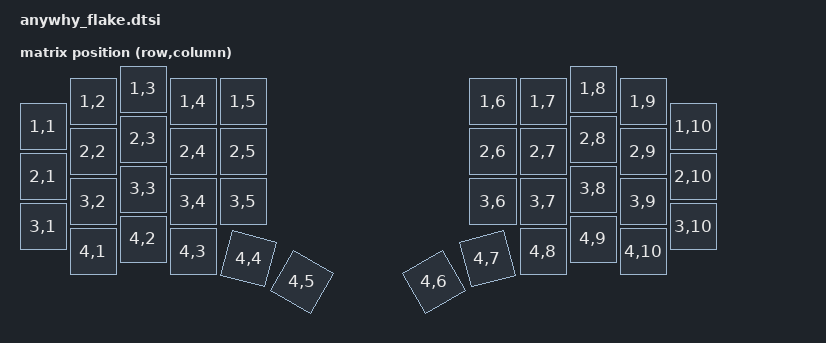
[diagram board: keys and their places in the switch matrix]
#include <dt-bindings/zmk/matrix_transform.h>
#include <physical_layouts.dtsi>

/ {
    kscan0: kscan0 {
        compatible = "zmk,kscan-gpio-matrix";
        diode-direction = "col2row";
        wakeup-source;
    };

    chosen {
        zmk,kscan = &kscan0;
        zmk,physical-layout = &small_layout;
    };

    small_layout: small_layout {
        compatible = "zmk,physical-layout";
        display-name = "Flake S Layout";
        transform = <&small_transform>;

        keys  //                     w   h    x    y     rot    rx    ry
            = <&key_physical_attrs 100 100    0   75       0     0     0>
            , <&key_physical_attrs 100 100  100   25       0     0     0>
            , <&key_physical_attrs 100 100  200    0       0     0     0>
            , <&key_physical_attrs 100 100  300   25       0     0     0>
            , <&key_physical_attrs 100 100  400   25       0     0     0>
            , <&key_physical_attrs 100 100  900   25       0     0     0>
            , <&key_physical_attrs 100 100 1000   25       0     0     0>
            , <&key_physical_attrs 100 100 1100    0       0     0     0>
            , <&key_physical_attrs 100 100 1200   25       0     0     0>
            , <&key_physical_attrs 100 100 1300   75       0     0     0>
            , <&key_physical_attrs 100 100    0  175       0     0     0>
            , <&key_physical_attrs 100 100  100  125       0     0     0>
            , <&key_physical_attrs 100 100  200  100       0     0     0>
            , <&key_physical_attrs 100 100  300  125       0     0     0>
            , <&key_physical_attrs 100 100  400  125       0     0     0>
            , <&key_physical_attrs 100 100  900  125       0     0     0>
            , <&key_physical_attrs 100 100 1000  125       0     0     0>
            , <&key_physical_attrs 100 100 1100  100       0     0     0>
            , <&key_physical_attrs 100 100 1200  125       0     0     0>
            , <&key_physical_attrs 100 100 1300  175       0     0     0>
            , <&key_physical_attrs 100 100    0  275       0     0     0>
            , <&key_physical_attrs 100 100  100  225       0     0     0>
            , <&key_physical_attrs 100 100  200  200       0     0     0>
            , <&key_physical_attrs 100 100  300  225       0     0     0>
            , <&key_physical_attrs 100 100  400  225       0     0     0>
            , <&key_physical_attrs 100 100  900  225       0     0     0>
            , <&key_physical_attrs 100 100 1000  225       0     0     0>
            , <&key_physical_attrs 100 100 1100  200       0     0     0>
            , <&key_physical_attrs 100 100 1200  225       0     0     0>
            , <&key_physical_attrs 100 100 1300  275       0     0     0>
            , <&key_physical_attrs 100 100  100  325       0     0     0>
            , <&key_physical_attrs 100 100  200  300       0     0     0>
            , <&key_physical_attrs 100 100  300  325       0     0     0>
            , <&key_physical_attrs 100 100  400  325    1500   400   425>
            , <&key_physical_attrs 100 100  500  370    3000   530   460>
            , <&key_physical_attrs 100 100  800  370 (-3000)   870   460>
            , <&key_physical_attrs 100 100  900  325 (-1500)  1000   425>
            , <&key_physical_attrs 100 100 1000  325       0     0     0>
            , <&key_physical_attrs 100 100 1100  300       0     0     0>
            , <&key_physical_attrs 100 100 1200  325       0     0     0>
            ;
    };

    small_transform: small_transform {
        compatible = "zmk,matrix-transform";
        columns = <10>;
        rows = <4>;
        map = <
RC(1,1) RC(1,2) RC(1,3) RC(1,4) RC(1,5)  RC(1,6) RC(1,7) RC(1,8) RC(1,9) RC(1,10)
RC(2,1) RC(2,2) RC(2,3) RC(2,4) RC(2,5)  RC(2,6) RC(2,7) RC(2,8) RC(2,9) RC(2,10)
RC(3,1) RC(3,2) RC(3,3) RC(3,4) RC(3,5)  RC(3,6) RC(3,7) RC(3,8) RC(3,9) RC(3,10)
RC(4,1) RC(4,2) RC(4,3) RC(4,4) RC(4,5)  RC(4,6) RC(4,7) RC(4,8) RC(4,9) RC(4,10)
        >;
    };

    position_map {
        compatible = "zmk,physical-layout-position-map";

        complete;

        small_layout {
            physical-layout = <&small_layout>;
            positions
                = <40 41 42 43 44 45 46 47 48 49 50 51>
                , <52  0  1  2  3  4  5  6  7  8  9 53>
                , <54 10 11 12 13 14 15 16 17 18 19 55>
                , <56 20 21 22 23 24 25 26 27 28 29 57>
                , <   30 31 32 33 34 35 36 37 38 39   >
                ;
        };
    };

};
